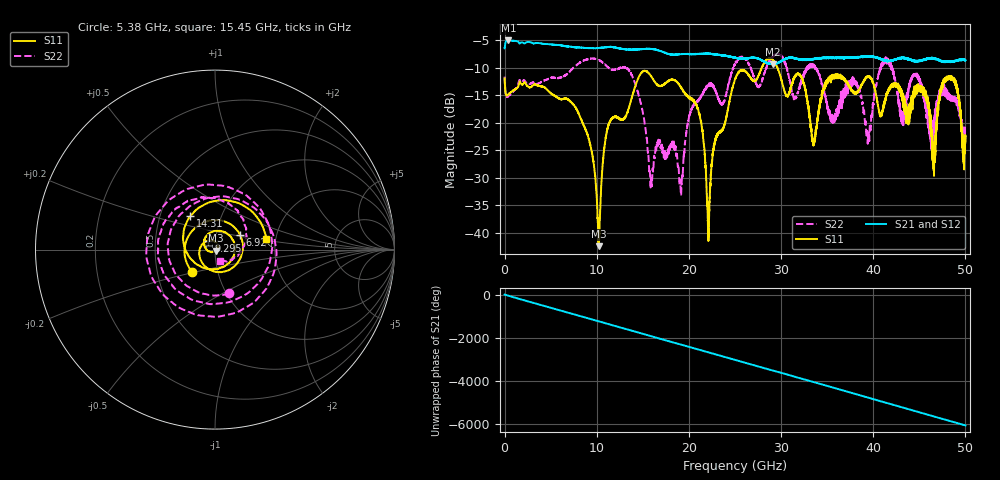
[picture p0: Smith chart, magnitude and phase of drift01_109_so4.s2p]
!Created with skrf (http://scikit-rf.org).
# Hz S RI R 50.0
!freq ReS11 ImS11 ReS21 ImS21 ReS12 ImS12 ReS22 ImS22
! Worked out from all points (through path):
!   10001 points, 300 kHz to 50 GHz, reference 50 ohm
!   highest |S21| = -5.05 dB at 415.3 MHz (marker M1); lowest = -9.4 dB at 29.12 GHz (marker M2)
!   group delay of S21, straight-line fit = 336 ps
!   lowest |S11| = -42.5 dB at 10.23 GHz (marker M3), VSWR 1.02, Z = 50.5 - j0.605 ohm
!   |S11| at or under -10 dB: start of sweep to 27.9 GHz; 29.6 GHz to end of sweep
!   |S22| runs from -33.1 to -7.5 dB; largest |S21 - S12| = 0.014
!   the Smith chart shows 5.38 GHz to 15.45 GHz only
!   S11 on the Smith chart (normalised r, x): 5.38 GHz: 0.76, -0.19; 6.92 GHz: 1.30, +0.22; 9.295 GHz: 0.92, +0.09; 14.31 GHz: 0.71, +0.28; 15.45 GHz: 1.78, +0.23
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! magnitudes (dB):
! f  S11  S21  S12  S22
! 300 kHz  -12.0  -6.5  -6.6  -11.6
! 415.3 MHz  -14.8  -5.1  -5.1  -15.1
! 5.38 GHz  -15.1  -5.9  -5.8  -11.8
! 6.92 GHz  -15.9  -6.2  -6.1  -11.0
! 8.335 GHz  -19.5  -6.4  -6.4  -8.9
! 9.295 GHz  -24.0  -6.4  -6.4  -8.4
! 10.23 GHz  -42.5  -6.4  -6.4  -8.6
! 11.23 GHz  -20.6  -6.2  -6.3  -9.9
! 14.31 GHz  -12.7  -6.7  -6.7  -13.6
! 15.45 GHz  -10.7  -6.6  -6.6  -23.1
! 16.67 GHz  -13.2  -6.9  -6.8  -23.4
! 19.14 GHz  -13.6  -7.6  -7.6  -33.0
! 20.85 GHz  -16.9  -7.5  -7.6  -16.1
! 22.12 GHz  -41.5  -7.5  -7.5  -13.3
! 25 GHz  -12.1  -8.2  -8.2  -9.5
! 29.12 GHz  -8.6  -9.4  -9.4  -7.9
! 33.34 GHz  -22.3  -8.5  -8.4  -9.6
! 39.47 GHz  -11.7  -8.0  -8.0  -22.1
! 41.67 GHz  -13.9  -8.8  -8.7  -8.8
! 46.56 GHz  -25.9  -8.3  -8.3  -20.5
! 48.52 GHz  -11.7  -8.9  -8.9  -15.2
! 50 GHz  -23.5  -8.6  -8.6  -22.8
